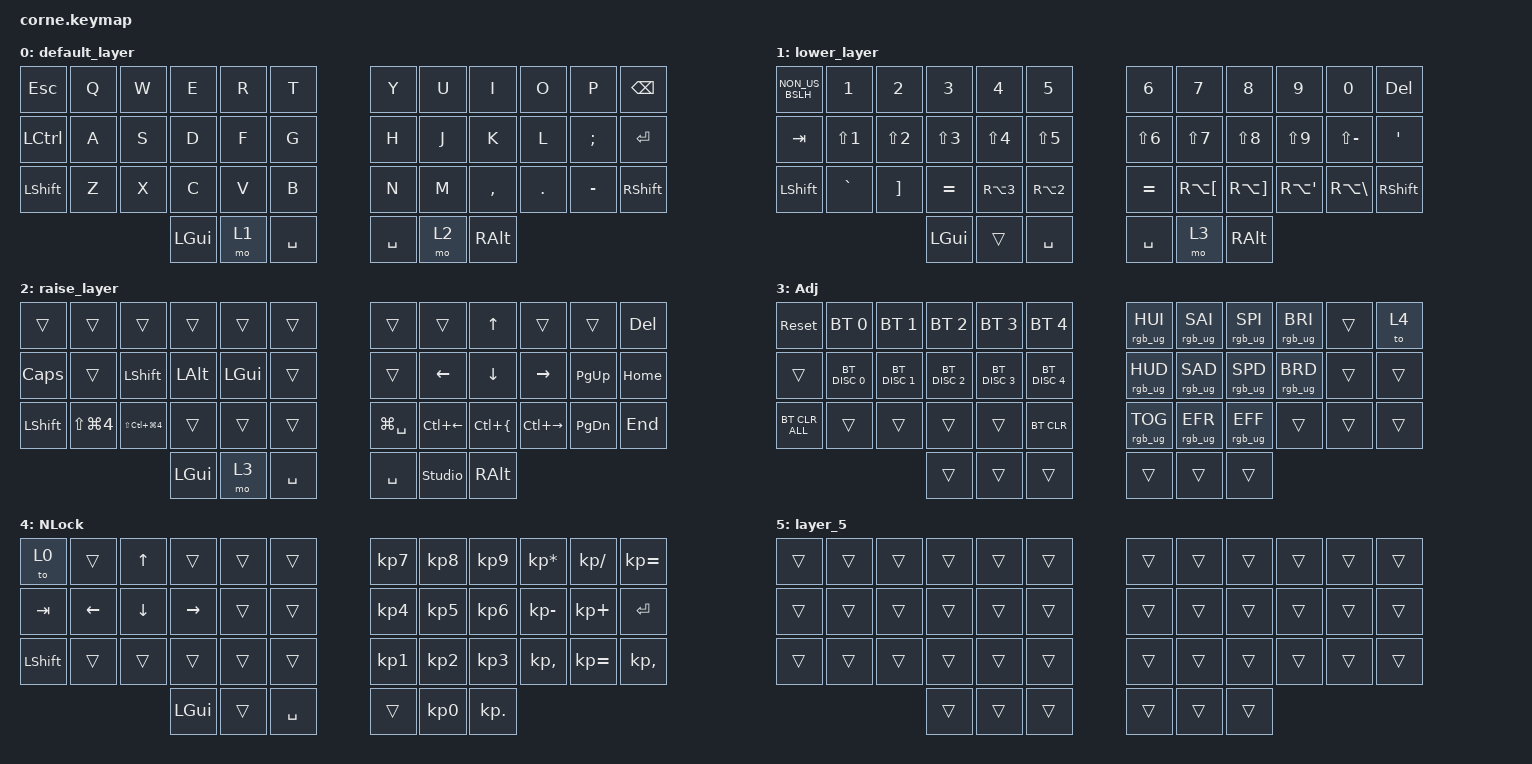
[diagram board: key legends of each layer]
/*
 * Copyright (c) 2020 The ZMK Contributors
 *
 * SPDX-License-Identifier: MIT
 */

#include <dt-bindings/zmk/mouse.h>
#include <behaviors.dtsi>
#include <dt-bindings/zmk/bt.h>
#include <dt-bindings/zmk/keys.h>
#include <dt-bindings/zmk/rgb.h>

/ {
    keymap {
        compatible = "zmk,keymap";

        default_layer {
            // -----------------------------------------------------------------------------------------
            // |  TAB |  Q  |  W  |  E  |  R  |  T  |   |  Y  |  U   |  I  |  O  |  P  | BKSP |
            // | CTRL |  A  |  S  |  D  |  F  |  G  |   |  H  |  J   |  K  |  L  |  ;  |  '   |
            // | SHFT |  Z  |  X  |  C  |  V  |  B  |   |  N  |  M   |  ,  |  .  |  /  | ESC  |
            //                    | GUI | LWR | SPC |   | ENT | RSE  | ALT |

            bindings = <
&kp ESC    &kp Q  &kp W  &kp E     &kp R  &kp T        &kp Y      &kp U  &kp I      &kp O    &kp P      &kp BSPC
&kp LCTRL  &kp A  &kp S  &kp D     &kp F  &kp G        &kp H      &kp J  &kp K      &kp L    &kp SEMI   &kp ENTER
&kp LSHFT  &kp Z  &kp X  &kp C     &kp V  &kp B        &kp N      &kp M  &kp COMMA  &kp DOT  &kp MINUS  &kp RSHFT
                         &kp LGUI  &mo 1  &kp SPACE    &kp SPACE  &mo 2  &kp RALT
            >;
        };

        lower_layer {
            // -----------------------------------------------------------------------------------------
            // |  TAB |  1  |  2  |  3  |  4  |  5  |   |  6  |  7  |  8  |  9  |  0  | BKSP |
            // | BTCLR| BT1 | BT2 | BT3 | BT4 | BT5 |   | LFT | DWN |  UP | RGT |     |      |
            // | SHFT |     |     |     |     |     |   |     |     |     |     |     |      |
            //                    | GUI |     | SPC |   | ENT |     | ALT |

            bindings = <
&kp NON_US_BSLH  &kp N1      &kp N2      &kp N3      &kp N4            &kp N5              &kp N6      &kp N7            &kp N8        &kp N9                &kp N0         &kp DEL
&kp TAB          &kp LS(N1)  &kp LS(N2)  &kp LS(N3)  &kp LS(NUMBER_4)  &kp LS(NUMBER_5)    &kp LS(N6)  &kp LS(NUMBER_7)  &kp LS(N8)    &kp LS(NUMBER_9)      &kp LS(MINUS)  &kp SINGLE_QUOTE
&kp LSHFT        &kp GRAVE   &kp RBKT    &kp EQUAL   &kp RA(N3)        &kp RA(N2)          &kp EQUAL   &kp RA(LBKT)      &kp RA(RBKT)  &kp RA(SINGLE_QUOTE)  &kp RA(BSLH)   &kp RSHFT
                                         &kp LGUI    &trans            &kp SPACE           &kp SPACE   &mo 3             &kp RALT
            >;
        };

        raise_layer {
            // -----------------------------------------------------------------------------------------
            // |  TAB |  !  |  @  |  #  |  $  |  %  |   |  ^  |  &  |  *  |  (  |  )  | BKSP |
            // | CTRL |     |     |     |     |     |   |  -  |  =  |  [  |  ]  |  \  |  `   |
            // | SHFT |     |     |     |     |     |   |  _  |  +  |  {  |  }  | "|" |  ~   |
            //                    | GUI |     | SPC |   | ENT |     | ALT |

            bindings = <
&trans     &trans          &trans              &trans    &trans    &trans       &trans         &trans          &kp UP_ARROW  &trans         &trans     &kp DEL
&kp CAPS   &trans          &kp LSHFT           &kp LALT  &kp LGUI  &trans       &trans         &kp LEFT        &kp DOWN      &kp RIGHT      &kp PG_UP  &kp HOME
&kp LSHFT  &kp LS(LG(N4))  &kp LS(LC(LG(N4)))  &trans    &trans    &trans       &kp LG(SPACE)  &kp LC(LEFT)    &kp LC(LBRC)  &kp LC(RIGHT)  &kp PG_DN  &kp END
                                               &kp LGUI  &mo 3     &kp SPACE    &kp SPACE      &studio_unlock  &kp RALT
            >;
        };

        Adj {
            bindings = <
&sys_reset      &bt BT_SEL 0   &bt BT_SEL 1   &bt BT_SEL 2   &bt BT_SEL 3   &bt BT_SEL 4     &rgb_ug RGB_HUI  &rgb_ug RGB_SAI  &rgb_ug RGB_SPI  &rgb_ug RGB_BRI  &trans  &to 4
&trans          &bt BT_DISC 0  &bt BT_DISC 1  &bt BT_DISC 2  &bt BT_DISC 3  &bt BT_DISC 4    &rgb_ug RGB_HUD  &rgb_ug RGB_SAD  &rgb_ug RGB_SPD  &rgb_ug RGB_BRD  &trans  &trans
&bt BT_CLR_ALL  &trans         &trans         &trans         &trans         &bt BT_CLR       &rgb_ug RGB_TOG  &rgb_ug RGB_EFR  &rgb_ug RGB_EFF  &trans           &trans  &trans
                                              &trans         &trans         &trans           &trans           &trans           &trans
            >;
        };

        NLock {
            bindings = <
&to 0      &trans    &kp UP_ARROW  &trans     &trans  &trans       &kp KP_NUMBER_7  &kp KP_NUMBER_8  &kp KP_NUMBER_9  &kp KP_ASTERISK  &kp KP_DIVIDE  &kp KP_EQUAL
&kp TAB    &kp LEFT  &kp DOWN      &kp RIGHT  &trans  &trans       &kp KP_NUMBER_4  &kp KP_NUMBER_5  &kp KP_NUMBER_6  &kp KP_MINUS     &kp KP_PLUS    &kp ENTER
&kp LSHFT  &trans    &trans        &trans     &trans  &trans       &kp KP_NUMBER_1  &kp KP_NUMBER_2  &kp KP_NUMBER_3  &kp KP_COMMA     &kp KP_EQUAL   &kp KP_COMMA
                                   &kp LGUI   &trans  &kp SPACE    &trans           &kp KP_NUMBER_0  &kp KP_DOT
            >;
        };

        layer_5 {
            bindings = <
&trans  &trans  &trans  &trans  &trans  &trans    &trans  &trans  &trans  &trans  &trans  &trans
&trans  &trans  &trans  &trans  &trans  &trans    &trans  &trans  &trans  &trans  &trans  &trans
&trans  &trans  &trans  &trans  &trans  &trans    &trans  &trans  &trans  &trans  &trans  &trans
                        &trans  &trans  &trans    &trans  &trans  &trans
            >;
        };
    };
};
